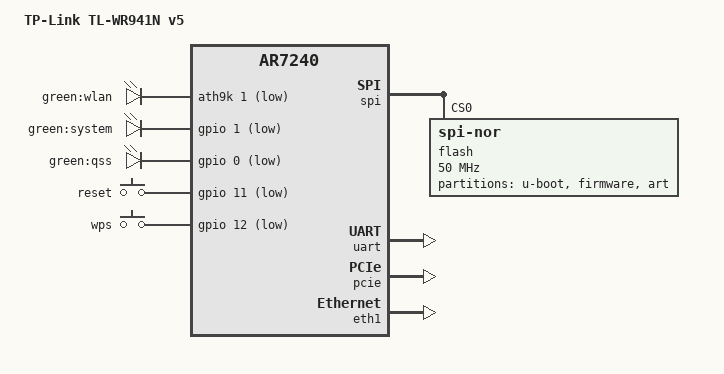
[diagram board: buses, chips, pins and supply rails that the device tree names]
// SPDX-License-Identifier: GPL-2.0-or-later OR MIT

/dts-v1/;

#include "ar7240.dtsi"

#include <dt-bindings/gpio/gpio.h>
#include <dt-bindings/input/input.h>

/ {
	model = "TP-Link TL-WR941N v5";
	compatible = "tplink,tl-wr941n-v5", "qca,ar7240";

	aliases {
		led-boot = &led_system;
		led-failsafe = &led_system;
		led-running = &led_system;
		led-upgrade = &led_system;
	};

	ath9k-leds {
		compatible = "gpio-leds";

		wlan {
			label = "green:wlan";
			gpios = <&ath9k 1 GPIO_ACTIVE_LOW>;
			linux,default-trigger = "phy0tpt";
		};
	};

	gpio-leds {
		compatible = "gpio-leds";

		pinctrl-names = "default";
		pinctrl-0 = <&switch_led_pins>;

		led_system: system {
			label = "green:system";
			gpios = <&gpio 1 GPIO_ACTIVE_LOW>;
		};

		qss {
			label = "green:qss";
			gpios = <&gpio 0 GPIO_ACTIVE_LOW>;
		};
	};

	keys {
		compatible = "gpio-keys";

		reset {
			label = "reset";
			linux,code = <KEY_RESTART>;
			gpios = <&gpio 11 GPIO_ACTIVE_LOW>;
		};

		wps {
			label = "wps";
			linux,code = <KEY_WPS_BUTTON>;
			gpios = <&gpio 12 GPIO_ACTIVE_LOW>;
		};
	};
};

&pinmux {
	switch_led_pins: pinmux_switch_led_pins {
		pinctrl-single,bits = <0x0 0x38000f8 0x38000f8>;
	};
};

&spi {
	status = "okay";
	num-cs = <1>;

	flash@0 {
		compatible = "jedec,spi-nor";
		reg = <0>;
		spi-max-frequency = <50000000>;
		m25p,fast-read;

		partitions {
			compatible = "fixed-partitions";
			#address-cells = <1>;
			#size-cells = <1>;

			uboot: partition@0 {
				label = "u-boot";
				reg = <0x0 0x20000>;
				read-only;
			};

			partition@20000 {
				compatible = "tplink,firmware";
				label = "firmware";
				reg = <0x20000 0x3d0000>;
			};

			art: partition@3f0000 {
				label = "art";
				reg = <0x3f0000 0x10000>;
				read-only;
			};
		};
	};
};

&uart {
	status = "okay";
};

&pcie {
	status = "okay";

	ath9k: wifi@0,0 {
		reg = <0x0000 0 0 0 0>;
		gpio-controller;
		#gpio-cells = <2>;
		qca,no-eeprom;
		mtd-mac-address = <&uboot 0x1fc00>;
	};
};

&eth0 {
	mtd-mac-address = <&uboot 0x1fc00>;
	mtd-mac-address-increment = <1>;
};

&eth1 {
	status = "okay";

	mtd-mac-address = <&uboot 0x1fc00>;
};
